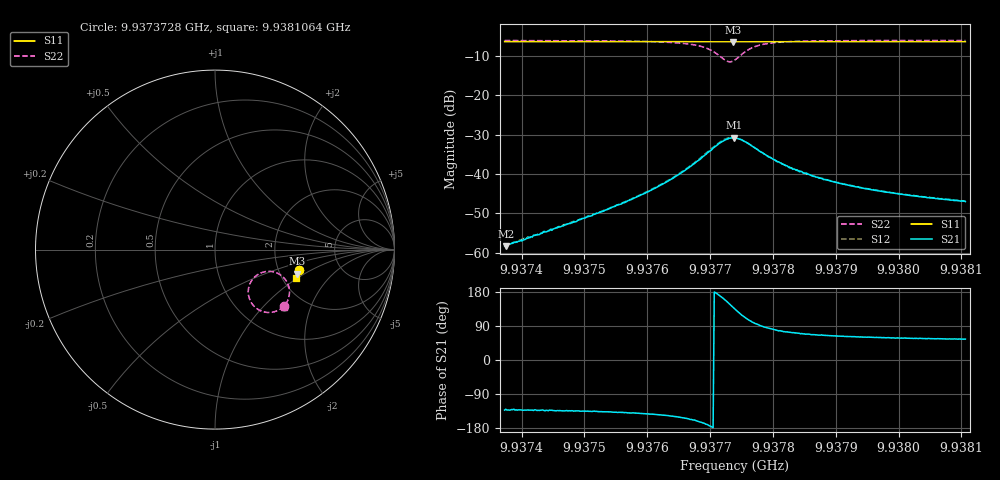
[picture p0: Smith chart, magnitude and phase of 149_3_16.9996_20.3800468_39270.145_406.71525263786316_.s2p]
#  HZ  S  RI  R  50.00
! Rohde & Schwarz Vector Network Analyzer
! Rohde-Schwarz,ZNB20-2Port,1311601062101988,3.16
! Created: UTC 3/20/2024, 10:58:46 PM
! freq[Hz]  re:S11  im:S11  re:S21  im:S21  re:S12  im:S12  re:S22  im:S22
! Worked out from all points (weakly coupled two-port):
!   401 points, 9.9373728 GHz to 9.9381064 GHz, reference 50 ohm
!   highest |S21| = -30.77 dB at 9.9377378 GHz (marker M1); lowest = -58.3 dB at 9.9373747 GHz (marker M2)
!   lowest |S11| = -6.4 dB at 9.937736 GHz (marker M3), VSWR 2.83, Z = 124 - j42.9 ohm
!   |S11| at or under -10 dB: nowhere
!   |S22| runs from -11.5 to -6.0 dB; largest |S21 - S12| = 0.0014
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9.93737284e9  0.4702 -0.1111  -0.000816 -0.000903  -0.000829 -0.000923  0.3837 -0.3159
9.93737468e9  0.4702 -0.1113  -0.000778 -0.000931  -0.000823 -0.000925  0.3838 -0.3161
9.93749572e9  0.4675 -0.1194  -0.00193 -0.00192  -0.00194 -0.00187  0.3682 -0.3285
9.93756174e9  0.4659 -0.1239  -0.00324 -0.00287  -0.00333 -0.00284  0.3531 -0.3373
9.93761859e9  0.4644 -0.1279  -0.00572 -0.00411  -0.00592 -0.00406  0.3287 -0.3469
9.93765711e9  0.4632 -0.1306  -0.00954 -0.00496  -0.00984 -0.00488  0.2948 -0.3503
9.93769195e9  0.4615 -0.133  -0.0171 -0.00354  -0.0177 -0.0032  0.2338 -0.3295
9.93770479e9  0.4605 -0.1335  -0.0214 -0.000483  -0.0218 3.92e-05  0.2042 -0.2989
9.93771763e9  0.4598 -0.1336  -0.0247 0.00577  -0.0253 0.00676  0.1854 -0.2429
9.93772863e9  0.4593 -0.1334  -0.0246 0.0134  -0.0247 0.0147  0.1992 -0.181
9.93773597e9  0.4593 -0.1332  -0.022 0.0187  -0.0216 0.0198  0.2291 -0.1456
9.9377378e9  0.4594 -0.1334  -0.0211 0.0198  -0.0206 0.0209  0.2385 -0.139
9.93773964e9  0.4594 -0.1334  -0.0201 0.0206  -0.0194 0.0217  0.2484 -0.1333
9.93774881e9  0.4599 -0.1332  -0.014 0.0235  -0.0131 0.0243  0.3006 -0.1211
9.93776164e9  0.4604 -0.1339  -0.00648 0.0234  -0.00557 0.0235  0.3582 -0.1367
9.93777998e9  0.4609 -0.1354  -0.000216 0.0192  0.000371 0.0194  0.3991 -0.1777
9.93780933e9  0.4607 -0.1381  0.00328 0.0139  0.00338 0.0138  0.4146 -0.2269
9.93782767e9  0.4604 -0.1394  0.00353 0.0114  0.00381 0.0115  0.4146 -0.2462
9.93786251e9  0.4595 -0.1422  0.00371 0.00872  0.00393 0.00873  0.4101 -0.2698
9.93791203e9  0.4585 -0.1454  0.00341 0.00662  0.00358 0.00661  0.4028 -0.2887
9.93798539e9  0.4565 -0.1504  0.00302 0.00499  0.00314 0.00497  0.3937 -0.3045
9.93810643e9  0.4533 -0.1583  0.00256 0.00366  0.00266 0.00371  0.3822 -0.3198
